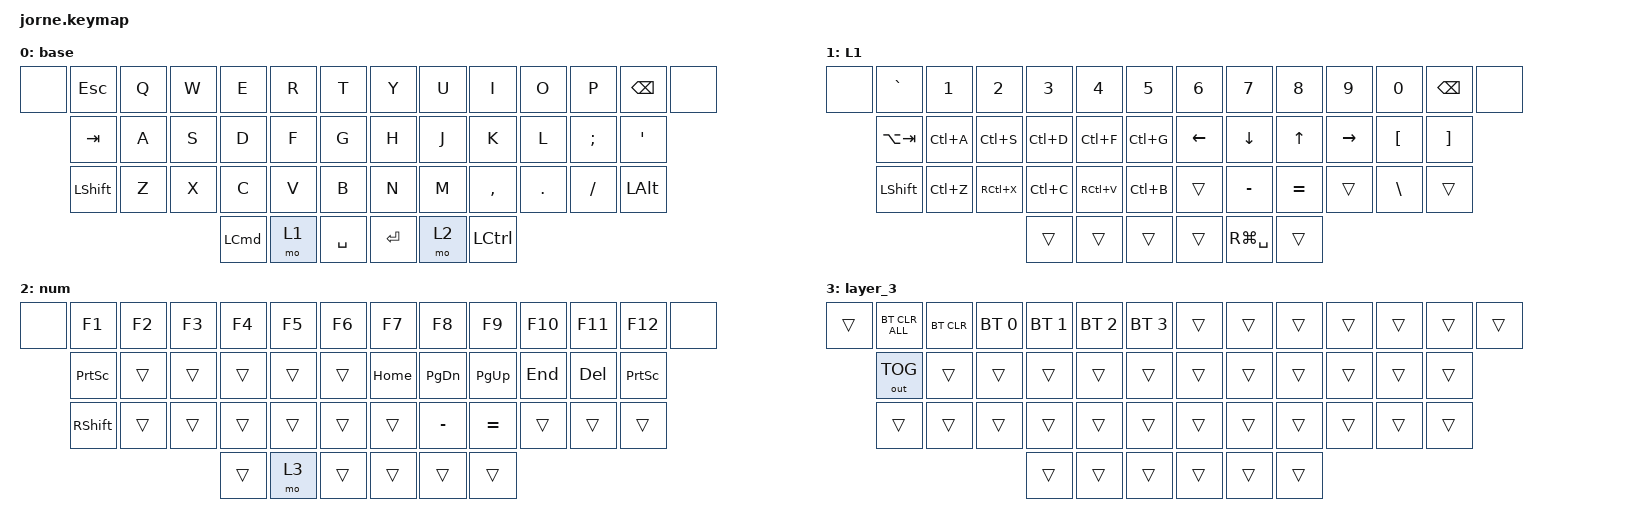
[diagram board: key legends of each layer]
/*
 * Copyright (c) 2020 The ZMK Contributors
 *
 * SPDX-License-Identifier: MIT
 */

#include <behaviors.dtsi>
#include <dt-bindings/zmk/bt.h>
#include <dt-bindings/zmk/keys.h>
#include <dt-bindings/zmk/outputs.h>

/ {
    combos { compatible = "zmk,combos"; };

    behaviors {
        hml: hml {
            compatible = "zmk,behavior-hold-tap";
            label = "HML";
            bindings = <&kp>, <&kp>;

            #binding-cells = <2>;
            tapping-term-ms = <220>;
            quick-tap-ms = <175>;
            flavor = "balanced";
            require-prior-idle-ms = <100>;
            hold-trigger-key-positions = <7 8 9 10 11 12 13 20 21 22 23 24 25 32 33 34 35 36 37 38 39 40 41 42 43>;
            hold-trigger-on-release;
        };

        hmr: hmr {
            compatible = "zmk,behavior-hold-tap";
            label = "HMR";
            bindings = <&kp>, <&kp>;

            #binding-cells = <2>;
            tapping-term-ms = <220>;
            quick-tap-ms = <175>;
            require-prior-idle-ms = <100>;
            flavor = "balanced";
            hold-trigger-key-positions = <0 1 2 3 4 5 6 14 15 16 17 18 19 26 27 28 29 30 31 38 39 40 41 42 43>;
            hold-trigger-on-release;
        };

        tkl: tkl {
            compatible = "zmk,behavior-hold-tap";
            label = "TKL";
            bindings = <&mo>, <&kp>;

            #binding-cells = <2>;
            tapping-term-ms = <220>;
            quick-tap-ms = <175>;
            flavor = "balanced";
            require-prior-idle-ms = <100>;
            hold-trigger-key-positions = <7 8 9 10 11 12 13 20 21 22 23 24 25 32 33 34 35 36 37 38 39 40 41 42 43>;
            hold-trigger-on-release;
        };

        tkr: tkr {
            compatible = "zmk,behavior-hold-tap";
            label = "TKR";
            bindings = <&mo>, <&kp>;

            #binding-cells = <2>;
            tapping-term-ms = <220>;
            quick-tap-ms = <175>;
            require-prior-idle-ms = <100>;
            flavor = "balanced";
            hold-trigger-key-positions = <0 1 2 3 4 5 6 14 15 16 17 18 19 26 27 28 29 30 31 38 39 40 41 42 43>;
            hold-trigger-on-release;
        };
    };

    keymap {
        compatible = "zmk,keymap";

        base {
            // Jorne: 44 keys (positions 0 and 13 are extra outer keys, not present physically)
            // -----------------------------------------------------------------------------------------
            // | x |  ESC |  Q  |  W  |  E  |  R  |  T  |   |  Y  |  U   |  I  |  O  |  P  | BKSP | x |
            //     | TAB  |  A  |  S  |  D  |  F  |  G  |   |  H  |  J   |  K  |  L  |  '  |  '   |
            //     | SHFT |  Z  |  X  |  C  |  V  |  B  |   |  N  |  M   |  ,  |  .  |  /  | SHFT |
            //                        | GUI | LWR | SPC |   | ENT | RSE  | ALT |

            bindings = <
&none  &kp ESC         &kp Q  &kp W  &kp E             &kp R  &kp T        &kp Y      &kp U  &kp I      &kp O    &kp P     &kp BACKSPACE     &none
       &kp TAB         &kp A  &kp S  &kp D             &kp F  &kp G        &kp H      &kp J  &kp K      &kp L    &kp SEMI  &kp SINGLE_QUOTE
       &kp LEFT_SHIFT  &kp Z  &kp X  &kp C             &kp V  &kp B        &kp N      &kp M  &kp COMMA  &kp DOT  &kp FSLH  &kp LALT
                                     &kp LEFT_COMMAND  &mo 1  &kp SPACE    &kp ENTER  &mo 2  &kp LCTRL
            >;
        };

        L1 {
            bindings = <
&none  &kp GRAVE       &kp NUMBER_1  &kp NUMBER_2  &kp NUMBER_3  &kp NUMBER_4  &kp NUMBER_5    &kp NUMBER_6    &kp NUMBER_7    &kp NUMBER_8  &kp NUMBER_9     &kp NUMBER_0      &kp BACKSPACE      &none
       &kp LA(TAB)     &kp LC(A)     &kp LC(S)     &kp LC(D)     &kp LC(F)     &kp LC(G)       &kp LEFT_ARROW  &kp DOWN_ARROW  &kp UP_ARROW  &kp RIGHT_ARROW  &kp LEFT_BRACKET  &kp RIGHT_BRACKET
       &kp LEFT_SHIFT  &kp LC(Z)     &kp RC(X)     &kp LC(C)     &kp RC(V)     &kp LC(B)       &trans          &kp MINUS       &kp EQUAL     &trans           &kp BACKSLASH     &trans
                                                   &trans        &trans        &trans          &trans          &kp RG(SPACE)   &trans
            >;
        };

        num {
            bindings = <
&none  &kp F1           &kp F2  &kp F3  &kp F4  &kp F5  &kp F6    &kp F7    &kp F8         &kp F9       &kp F10  &kp F11  &kp F12    &none
       &kp PRINTSCREEN  &trans  &trans  &trans  &trans  &trans    &kp HOME  &kp PAGE_DOWN  &kp PAGE_UP  &kp END  &kp DEL  &kp PSCRN
       &kp RIGHT_SHIFT  &trans  &trans  &trans  &trans  &trans    &trans    &kp MINUS      &kp EQUAL    &trans   &trans   &trans
                                        &trans  &mo 3   &trans    &trans    &trans         &trans
            >;
        };

        layer_3 {
            bindings = <
&trans  &bt BT_CLR_ALL  &bt BT_CLR  &bt BT_SEL 0  &bt BT_SEL 1  &bt BT_SEL 2  &bt BT_SEL 3    &trans  &trans  &trans  &trans  &trans  &trans  &trans
        &out OUT_TOG    &trans      &trans        &trans        &trans        &trans          &trans  &trans  &trans  &trans  &trans  &trans
        &trans          &trans      &trans        &trans        &trans        &trans          &trans  &trans  &trans  &trans  &trans  &trans
                                                  &trans        &trans        &trans          &trans  &trans  &trans
            >;
        };
    };
};
